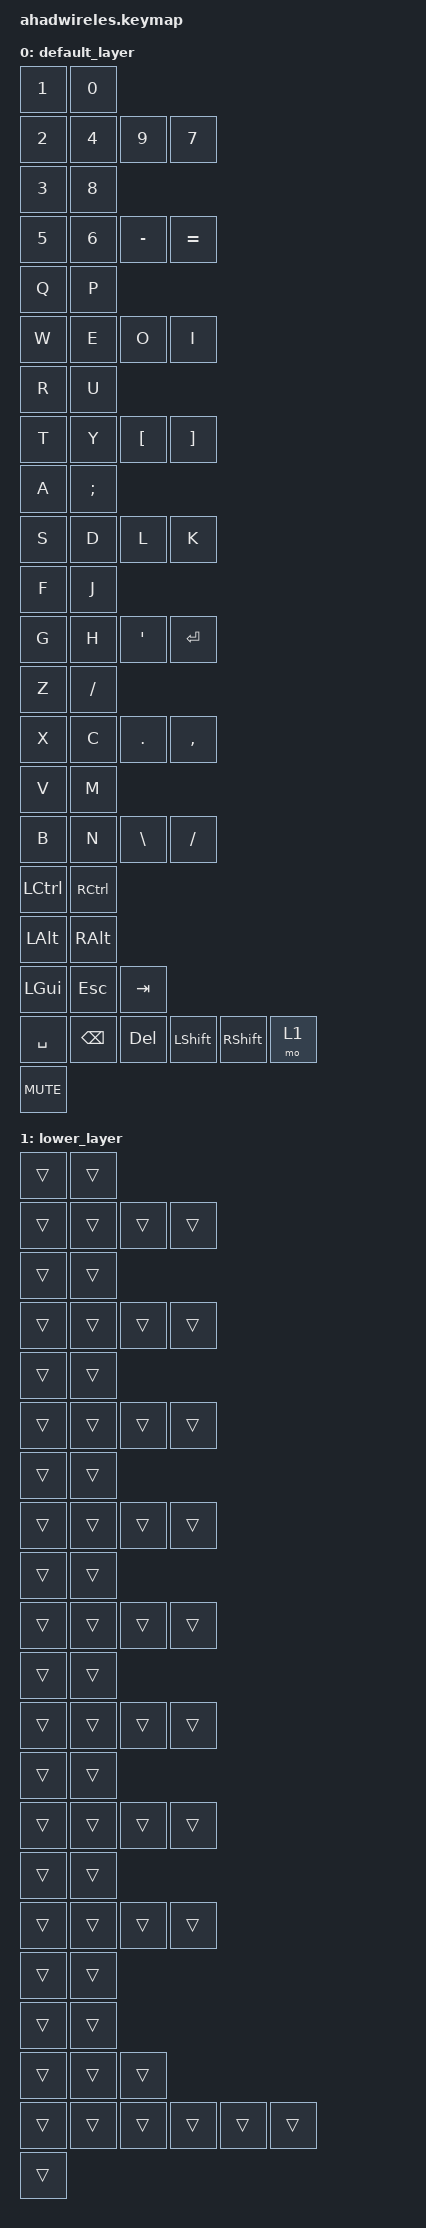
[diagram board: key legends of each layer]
// Best-effort QWERTY fill, in the exact same order as the transform map
// in ahadwireles.dtsi. Row grouping (top row / top-letter row / home row /
// bottom row / thumbs) is inferred confidently from your KLE y-offsets.
// Left-to-right order WITHIN each row is a best guess, not guaranteed -
// once you flash this, use ZMK Studio to drag-correct any key that's in
// the wrong physical spot rather than editing this file blind.

#include <behaviors.dtsi>
#include <dt-bindings/zmk/keys.h>

/ {
    keymap {
        compatible = "zmk,keymap";

        default_layer {
            bindings = <
                // top row (numbers)
                &kp N1    &kp N0
                &kp N2    &kp N4    &kp N9    &kp N7
                &kp N3    &kp N8
                &kp N5    &kp N6    &kp MINUS &kp EQUAL

                // top letter row
                &kp Q     &kp P
                &kp W     &kp E     &kp O     &kp I
                &kp R     &kp U
                &kp T     &kp Y     &kp LBKT  &kp RBKT

                // home row
                &kp A     &kp SEMI
                &kp S     &kp D     &kp L     &kp K
                &kp F     &kp J
                &kp G     &kp H     &kp SQT   &kp RET

                // bottom row
                &kp Z     &kp SLASH
                &kp X     &kp C     &kp DOT   &kp COMMA
                &kp V     &kp M
                &kp B     &kp N     &kp BSLH  &kp FSLH

                // thumb / extra row + joystick buttons
                &kp LCTRL &kp RCTRL
                &kp LALT  &kp RALT
                &kp LGUI  &kp ESC   &kp TAB
                &kp SPACE &kp BSPC  &kp DEL   &kp LSHFT &kp RSHFT &mo 1
                &kp K_MUTE
            >;
        };

        lower_layer {
            bindings = <
                &trans &trans
                &trans &trans &trans &trans
                &trans &trans
                &trans &trans &trans &trans

                &trans &trans
                &trans &trans &trans &trans
                &trans &trans
                &trans &trans &trans &trans

                &trans &trans
                &trans &trans &trans &trans
                &trans &trans
                &trans &trans &trans &trans

                &trans &trans
                &trans &trans &trans &trans
                &trans &trans
                &trans &trans &trans &trans

                &trans &trans
                &trans &trans
                &trans &trans &trans
                &trans &trans &trans &trans &trans &trans
                &trans
            >;
        };
    };
};
